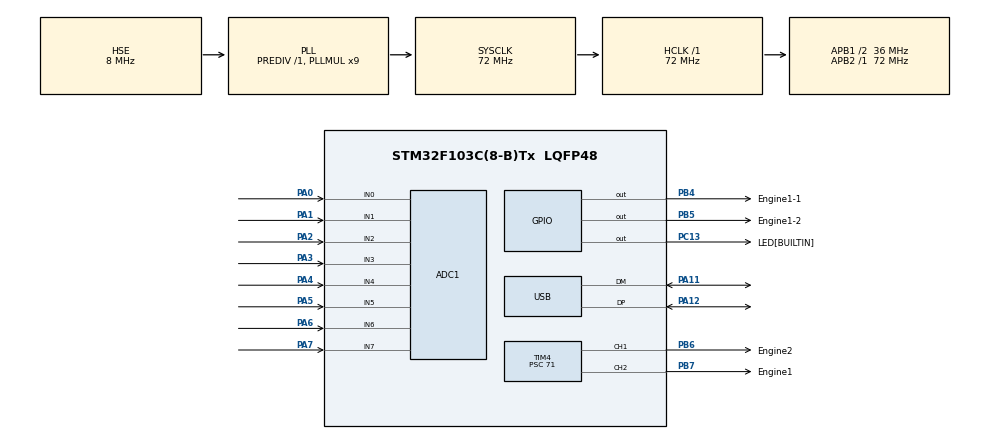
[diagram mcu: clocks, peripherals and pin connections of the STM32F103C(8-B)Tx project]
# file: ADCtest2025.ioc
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ADC1.Channel-0\#ChannelRegularConversion=ADC_CHANNEL_0
ADC1.Channel-1\#ChannelRegularConversion=ADC_CHANNEL_1
ADC1.Channel-2\#ChannelRegularConversion=ADC_CHANNEL_2
ADC1.Channel-3\#ChannelRegularConversion=ADC_CHANNEL_3
ADC1.Channel-4\#ChannelRegularConversion=ADC_CHANNEL_4
ADC1.Channel-5\#ChannelRegularConversion=ADC_CHANNEL_5
ADC1.Channel-6\#ChannelRegularConversion=ADC_CHANNEL_6
ADC1.Channel-7\#ChannelRegularConversion=ADC_CHANNEL_7
ADC1.NbrOfConversion=8
ADC1.NbrOfConversionFlag=1
ADC1.Rank-0\#ChannelRegularConversion=1
ADC1.Rank-1\#ChannelRegularConversion=2
ADC1.Rank-2\#ChannelRegularConversion=3
ADC1.Rank-3\#ChannelRegularConversion=4
ADC1.Rank-4\#ChannelRegularConversion=5
ADC1.Rank-5\#ChannelRegularConversion=6
ADC1.Rank-6\#ChannelRegularConversion=7
ADC1.Rank-7\#ChannelRegularConversion=8
ADC1.SamplingTime-0\#ChannelRegularConversion=ADC_SAMPLETIME_239CYCLES_5
ADC1.SamplingTime-1\#ChannelRegularConversion=ADC_SAMPLETIME_239CYCLES_5
ADC1.SamplingTime-2\#ChannelRegularConversion=ADC_SAMPLETIME_239CYCLES_5
ADC1.SamplingTime-3\#ChannelRegularConversion=ADC_SAMPLETIME_239CYCLES_5
ADC1.SamplingTime-4\#ChannelRegularConversion=ADC_SAMPLETIME_239CYCLES_5
ADC1.SamplingTime-5\#ChannelRegularConversion=ADC_SAMPLETIME_239CYCLES_5
ADC1.SamplingTime-6\#ChannelRegularConversion=ADC_SAMPLETIME_239CYCLES_5
ADC1.SamplingTime-7\#ChannelRegularConversion=ADC_SAMPLETIME_239CYCLES_5
ADC1.master=1
Dma.ADC1.0.Direction=DMA_PERIPH_TO_MEMORY
Dma.ADC1.0.Instance=DMA1_Channel1
Dma.ADC1.0.MemDataAlignment=DMA_MDATAALIGN_HALFWORD
Dma.ADC1.0.MemInc=DMA_MINC_ENABLE
Dma.ADC1.0.Mode=DMA_NORMAL
Dma.ADC1.0.PeriphDataAlignment=DMA_PDATAALIGN_HALFWORD
Dma.ADC1.0.PeriphInc=DMA_PINC_DISABLE
Dma.ADC1.0.Priority=DMA_PRIORITY_LOW
Dma.Request0=ADC1
Mcu.Family=STM32F1
Mcu.Name=STM32F103C(8-B)Tx
Mcu.Package=LQFP48
NVIC.ADC1_2_IRQn=true\:0\:0\:false\:false\:true\:true\:true\:true
NVIC.DMA1_Channel1_IRQn=true\:0\:0\:false\:false\:true\:false\:true\:true
NVIC.PriorityGroup=NVIC_PRIORITYGROUP_4
NVIC.TIM2_IRQn=true\:0\:0\:false\:false\:true\:true\:true\:true
NVIC.TIM4_IRQn=true\:0\:0\:false\:false\:true\:true\:true\:true
NVIC.USB_LP_CAN1_RX0_IRQn=true\:0\:0\:false\:false\:true\:true\:true\:true
PA0-WKUP.Signal=ADCx_IN0
PA1.Signal=ADCx_IN1
PA11.Mode=Device
PA11.Signal=USB_DM
PA12.Mode=Device
PA12.Signal=USB_DP
PA13.Mode=Serial_Wire
PA13.Signal=SYS_JTMS-SWDIO
PA14.Mode=Serial_Wire
PA14.Signal=SYS_JTCK-SWCLK
PA2.Signal=ADCx_IN2
PA3.Signal=ADCx_IN3
PA4.Signal=ADCx_IN4
PA5.Signal=ADCx_IN5
PA6.Signal=ADCx_IN6
PA7.Signal=ADCx_IN7
PB4.GPIO_Label=Engine1-1
PB4.Signal=GPIO_Output
PB5.GPIO_Label=Engine1-2
PB5.Signal=GPIO_Output
PB6.GPIO_Label=Engine2
PB6.Signal=S_TIM4_CH1
PB7.GPIO_Label=Engine1
PB7.Signal=S_TIM4_CH2
PC13-TAMPER-RTC.GPIO_Label=LED[BUILTIN]
PC13-TAMPER-RTC.Signal=GPIO_Output
PC14-OSC32_IN.Mode=LSE-External-Oscillator
PC14-OSC32_IN.Signal=RCC_OSC32_IN
PC15-OSC32_OUT.Mode=LSE-External-Oscillator
PC15-OSC32_OUT.Signal=RCC_OSC32_OUT
PD0-OSC_IN.Mode=HSE-External-Oscillator
PD0-OSC_IN.Signal=RCC_OSC_IN
PD1-OSC_OUT.Mode=HSE-External-Oscillator
PD1-OSC_OUT.Signal=RCC_OSC_OUT
ProjectManager.HeapSize=0x200
ProjectManager.StackSize=0x400
ProjectManager.TargetToolchain=STM32CubeIDE
RCC.ADCPresc=RCC_ADCPCLK2_DIV6
RCC.AHBFreq_Value=72000000
RCC.APB1CLKDivider=RCC_HCLK_DIV2
RCC.APB1Freq_Value=36000000
RCC.APB1TimFreq_Value=72000000
RCC.APB2Freq_Value=72000000
RCC.APB2TimFreq_Value=72000000
RCC.HCLKFreq_Value=72000000
RCC.PLLMUL=RCC_PLL_MUL9
RCC.PLLSourceVirtual=RCC_PLLSOURCE_HSE
RCC.SYSCLKFreq_VALUE=72000000
RCC.SYSCLKSource=RCC_SYSCLKSOURCE_PLLCLK
RCC.USBFreq_Value=48000000
RCC.USBPrescaler=RCC_USBCLKSOURCE_PLL_DIV1_5
SH.ADCx_IN0.0=ADC1_IN0,IN0
SH.ADCx_IN1.0=ADC1_IN1,IN1
SH.ADCx_IN2.0=ADC1_IN2,IN2
SH.ADCx_IN3.0=ADC1_IN3,IN3
SH.ADCx_IN4.0=ADC1_IN4,IN4
SH.ADCx_IN5.0=ADC1_IN5,IN5
SH.ADCx_IN6.0=ADC1_IN6,IN6
SH.ADCx_IN7.0=ADC1_IN7,IN7
SH.S_TIM4_CH1.0=TIM4_CH1,PWM Generation1 CH1
SH.S_TIM4_CH2.0=TIM4_CH2,PWM Generation2 CH2
TIM2.Period=9999
TIM2.Prescaler=71
TIM4.Channel-PWM\ Generation1\ CH1=TIM_CHANNEL_1
TIM4.Channel-PWM\ Generation2\ CH2=TIM_CHANNEL_2
TIM4.OCPolarity_1=TIM_OCPOLARITY_LOW
TIM4.OCPolarity_2=TIM_OCPOLARITY_LOW
TIM4.Period=9999
TIM4.Prescaler=71
USB_DEVICE.CLASS_NAME_FS=CDC
USB_DEVICE.VirtualMode=Cdc
USB_DEVICE.VirtualModeFS=Cdc_FS
VP_TIM2_VS_ClockSourceINT.Mode=Internal
VP_TIM4_VS_ClockSourceINT.Mode=Internal
VP_USB_DEVICE_VS_USB_DEVICE_CDC_FS.Mode=CDC_FS
board=custom

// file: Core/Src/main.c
/* USER CODE BEGIN Header */
/**
  ******************************************************************************
  * @file           : main.c
  * @brief          : Main program body
  ******************************************************************************
  * @attention
  *
  * Copyright (c) 2025 STMicroelectronics.
  * All rights reserved.
  *
  * This software is licensed under terms that can be found in the LICENSE file
  * in the root directory of this software component.
  * If no LICENSE file comes with this software, it is provided AS-IS.
  *
  ******************************************************************************
  */
/* USER CODE END Header */
#include "main.h"
#include "usb_device.h"

/* USER CODE BEGIN Includes */

#include "UnerProtocol.h"
#include "engines.h"

/* USER CODE END Includes */

/* USER CODE BEGIN PD */
#define NUM_CHANNELS 8
#define RINGBUFFER 256
#define IS10MS myFlags.individualFlags.bit1
/* USER CODE END PD */

ADC_HandleTypeDef hadc1;
DMA_HandleTypeDef hdma_adc1;

TIM_HandleTypeDef htim2;
TIM_HandleTypeDef htim4;

/* USER CODE BEGIN PV */

_sDato datosComSerie;
uint16_t adcBuffer[NUM_CHANNELS];
_bFlags myFlags;
_sEng motorL,motorR;
/* USER CODE END PV */

void SystemClock_Config(void);
static void MX_GPIO_Init(void);
static void MX_DMA_Init(void);
static void MX_ADC1_Init(void);
static void MX_TIM2_Init(void);
static void MX_TIM4_Init(void);
/* USER CODE BEGIN PFP */
uint8_t CDC_Transmit_FS(uint8_t *buf, uint16_t leng);  // Envia una letra
void CDC_AttachRxData(void (*ptrRxAttach)(uint8_t *buf, uint16_t len));
void HAL_ADC_ConvCpltCallback(ADC_HandleTypeDef* hadc);
void HAL_TIM_PeriodElapsedCallback(TIM_HandleTypeDef *htim);
/* USER CODE END PFP */

/* USER CODE BEGIN 0 */
void HAL_ADC_ConvCpltCallback(ADC_HandleTypeDef* hadc){

	uint8_t u=0;
	char palabra[18];

	for(u=0;u<NUM_CHANNELS;u++){

//		casts.u16[0]=adcBuffer[u];
		sprintf(&palabra[0],"Channel %d:%i\n",u,adcBuffer[u]);
//		memcpy(datosComSerie.bufferTx,palabra,sizeof(palabra));
//		datosComSerie.indexWriteTx  += sizeof(palabra);
	}
	HAL_GPIO_TogglePin(LED_GPIO_Port, LED_Pin);
}
void HAL_TIM_PeriodElapsedCallback(TIM_HandleTypeDef *htim){
	IS10MS=TRUE;
}
/* USER CODE END 0 */

int main(void)
{

  /* USER CODE BEGIN 1 */
	uint8_t counter=0;
	uint8_t DMAcounter=0;
  /* USER CODE END 1 */

  /* MCU Configuration--------------------------------------------------------*/

  /* Reset of all peripherals, Initializes the Flash interface and the Systick. */
  HAL_Init();

  /* USER CODE BEGIN Init */
  CDC_AttachRxData(&UP_datafromUSB);
  myFlags.allFlags=0;
  UP_initprotocol(&datosComSerie,(uint8_t)RINGBUFFER);
  /* USER CODE END Init */

  /* Configure the system clock */
  SystemClock_Config();

  /* Initialize all configured peripherals */
  MX_GPIO_Init();
  MX_DMA_Init();
  MX_ADC1_Init();
  MX_TIM2_Init();
  MX_USB_DEVICE_Init();
  MX_TIM4_Init();
  /* USER CODE BEGIN 2 */
  HAL_TIM_Base_Start_IT(&htim2);

  HAL_TIM_PWM_Start(&htim4, TIM_CHANNEL_2);
  HAL_TIM_PWM_Start(&htim4, TIM_CHANNEL_1);

  HAL_GPIO_WritePin(Engine1_GPIO_Port, Engine1_Pin, 0);
  HAL_GPIO_WritePin(Engine2_GPIO_Port, Engine2_Pin, 0);

//  UP_initprotocol(&datosComSerie,(uint8_t*)RINGBUFFER);

//  HAL_ADC_Start(&hadc1);
//  HAL_ADC_Start_DMA(&hadc1, (uint32_t*)&adcBuffer, 8);
  /* USER CODE END 2 */

  /* Infinite loop */
  while (1)
  {

    /* USER CODE BEGIN 3 */
	UP_comunicationsTask(&datosComSerie);

	if(IS10MS){
		if(counter>10){
			__HAL_TIM_SET_COMPARE(&htim4,TIM_CHANNEL_2,ret_eng_Values());
			__HAL_TIM_SET_COMPARE(&htim4,TIM_CHANNEL_1,ret_eng_Values());
			HAL_GPIO_WritePin(Engine1_1_GPIO_Port, Engine1_1_Pin, 1);
			HAL_GPIO_WritePin(Engine1_1_GPIO_Port, Engine1_1_Pin, 0);
			counter=0;
		}
		if(DMAcounter>100){
			HAL_ADC_Start_DMA(&hadc1, (uint32_t*)&adcBuffer, 8);
			DMAcounter=0;
		}
		IS10MS=!IS10MS;
		counter++;
		DMAcounter++;
	}
  }
  /* USER CODE END 3 */
}

void SystemClock_Config(void)
{
  RCC_OscInitTypeDef RCC_OscInitStruct = {0};
  RCC_ClkInitTypeDef RCC_ClkInitStruct = {0};
  RCC_PeriphCLKInitTypeDef PeriphClkInit = {0};

  /** Initializes the RCC Oscillators according to the specified parameters
  * in the RCC_OscInitTypeDef structure.
  */
  RCC_OscInitStruct.OscillatorType = RCC_OSCILLATORTYPE_HSE;
  RCC_OscInitStruct.HSEState = RCC_HSE_ON;
  RCC_OscInitStruct.HSEPredivValue = RCC_HSE_PREDIV_DIV1;
  RCC_OscInitStruct.HSIState = RCC_HSI_ON;
  RCC_OscInitStruct.PLL.PLLState = RCC_PLL_ON;
  RCC_OscInitStruct.PLL.PLLSource = RCC_PLLSOURCE_HSE;
  RCC_OscInitStruct.PLL.PLLMUL = RCC_PLL_MUL9;
  if (HAL_RCC_OscConfig(&RCC_OscInitStruct) != HAL_OK)
  {
    Error_Handler();
  }

  /** Initializes the CPU, AHB and APB buses clocks
  */
  RCC_ClkInitStruct.ClockType = RCC_CLOCKTYPE_HCLK|RCC_CLOCKTYPE_SYSCLK
                              |RCC_CLOCKTYPE_PCLK1|RCC_CLOCKTYPE_PCLK2;
  RCC_ClkInitStruct.SYSCLKSource = RCC_SYSCLKSOURCE_PLLCLK;
  RCC_ClkInitStruct.AHBCLKDivider = RCC_SYSCLK_DIV1;
  RCC_ClkInitStruct.APB1CLKDivider = RCC_HCLK_DIV2;
  RCC_ClkInitStruct.APB2CLKDivider = RCC_HCLK_DIV1;

  if (HAL_RCC_ClockConfig(&RCC_ClkInitStruct, FLASH_LATENCY_2) != HAL_OK)
  {
    Error_Handler();
  }
  PeriphClkInit.PeriphClockSelection = RCC_PERIPHCLK_ADC|RCC_PERIPHCLK_USB;
  PeriphClkInit.AdcClockSelection = RCC_ADCPCLK2_DIV6;
  PeriphClkInit.UsbClockSelection = RCC_USBCLKSOURCE_PLL_DIV1_5;
  if (HAL_RCCEx_PeriphCLKConfig(&PeriphClkInit) != HAL_OK)
  {
    Error_Handler();
  }
}

static void MX_ADC1_Init(void)
{

  ADC_ChannelConfTypeDef sConfig = {0};

  /** Common config
  */
  hadc1.Instance = ADC1;
  hadc1.Init.ScanConvMode = ADC_SCAN_ENABLE;
  hadc1.Init.ContinuousConvMode = DISABLE;
  hadc1.Init.DiscontinuousConvMode = DISABLE;
  hadc1.Init.ExternalTrigConv = ADC_SOFTWARE_START;
  hadc1.Init.DataAlign = ADC_DATAALIGN_RIGHT;
  hadc1.Init.NbrOfConversion = 8;
  if (HAL_ADC_Init(&hadc1) != HAL_OK)
  {
    Error_Handler();
  }

  /** Configure Regular Channel
  */
  sConfig.Channel = ADC_CHANNEL_0;
  sConfig.Rank = ADC_REGULAR_RANK_1;
  sConfig.SamplingTime = ADC_SAMPLETIME_239CYCLES_5;
  if (HAL_ADC_ConfigChannel(&hadc1, &sConfig) != HAL_OK)
  {
    Error_Handler();
  }

  /** Configure Regular Channel
  */
  sConfig.Channel = ADC_CHANNEL_1;
  sConfig.Rank = ADC_REGULAR_RANK_2;
  if (HAL_ADC_ConfigChannel(&hadc1, &sConfig) != HAL_OK)
  {
    Error_Handler();
  }

  /** Configure Regular Channel
  */
  sConfig.Channel = ADC_CHANNEL_2;
  sConfig.Rank = ADC_REGULAR_RANK_3;
  if (HAL_ADC_ConfigChannel(&hadc1, &sConfig) != HAL_OK)
  {
    Error_Handler();
  }

  /** Configure Regular Channel
  */
  sConfig.Channel = ADC_CHANNEL_3;
  sConfig.Rank = ADC_REGULAR_RANK_4;
  if (HAL_ADC_ConfigChannel(&hadc1, &sConfig) != HAL_OK)
  {
    Error_Handler();
  }

  /** Configure Regular Channel
  */
  sConfig.Channel = ADC_CHANNEL_4;
  sConfig.Rank = ADC_REGULAR_RANK_5;
  if (HAL_ADC_ConfigChannel(&hadc1, &sConfig) != HAL_OK)
  {
    Error_Handler();
  }

  /** Configure Regular Channel
  */
  sConfig.Channel = ADC_CHANNEL_5;
  sConfig.Rank = ADC_REGULAR_RANK_6;
  if (HAL_ADC_ConfigChannel(&hadc1, &sConfig) != HAL_OK)
  {
    Error_Handler();
  }

  /** Configure Regular Channel
  */
  sConfig.Channel = ADC_CHANNEL_6;
  sConfig.Rank = ADC_REGULAR_RANK_7;
  if (HAL_ADC_ConfigChannel(&hadc1, &sConfig) != HAL_OK)
  {
    Error_Handler();
  }

  /** Configure Regular Channel
  */
  sConfig.Channel = ADC_CHANNEL_7;
  sConfig.Rank = ADC_REGULAR_RANK_8;
  if (HAL_ADC_ConfigChannel(&hadc1, &sConfig) != HAL_OK)
  {
    Error_Handler();
  }

}

static void MX_TIM2_Init(void)
{

  TIM_ClockConfigTypeDef sClockSourceConfig = {0};
  TIM_MasterConfigTypeDef sMasterConfig = {0};

  htim2.Instance = TIM2;
  htim2.Init.Prescaler = 71;
  htim2.Init.CounterMode = TIM_COUNTERMODE_UP;
  htim2.Init.Period = 9999;
  htim2.Init.ClockDivision = TIM_CLOCKDIVISION_DIV1;
  htim2.Init.AutoReloadPreload = TIM_AUTORELOAD_PRELOAD_DISABLE;
  if (HAL_TIM_Base_Init(&htim2) != HAL_OK)
  {
    Error_Handler();
  }
  sClockSourceConfig.ClockSource = TIM_CLOCKSOURCE_INTERNAL;
  if (HAL_TIM_ConfigClockSource(&htim2, &sClockSourceConfig) != HAL_OK)
  {
    Error_Handler();
  }
  sMasterConfig.MasterOutputTrigger = TIM_TRGO_RESET;
  sMasterConfig.MasterSlaveMode = TIM_MASTERSLAVEMODE_DISABLE;
  if (HAL_TIMEx_MasterConfigSynchronization(&htim2, &sMasterConfig) != HAL_OK)
  {
    Error_Handler();
  }

}

static void MX_TIM4_Init(void)
{

  TIM_ClockConfigTypeDef sClockSourceConfig = {0};
  TIM_MasterConfigTypeDef sMasterConfig = {0};
  TIM_OC_InitTypeDef sConfigOC = {0};

  htim4.Instance = TIM4;
  htim4.Init.Prescaler = 71;
  htim4.Init.CounterMode = TIM_COUNTERMODE_UP;
  htim4.Init.Period = 9999;
  htim4.Init.ClockDivision = TIM_CLOCKDIVISION_DIV1;
  htim4.Init.AutoReloadPreload = TIM_AUTORELOAD_PRELOAD_DISABLE;
  if (HAL_TIM_Base_Init(&htim4) != HAL_OK)
  {
    Error_Handler();
  }
  sClockSourceConfig.ClockSource = TIM_CLOCKSOURCE_INTERNAL;
  if (HAL_TIM_ConfigClockSource(&htim4, &sClockSourceConfig) != HAL_OK)
  {
    Error_Handler();
  }
  if (HAL_TIM_PWM_Init(&htim4) != HAL_OK)
  {
    Error_Handler();
  }
  sMasterConfig.MasterOutputTrigger = TIM_TRGO_RESET;
  sMasterConfig.MasterSlaveMode = TIM_MASTERSLAVEMODE_DISABLE;
  if (HAL_TIMEx_MasterConfigSynchronization(&htim4, &sMasterConfig) != HAL_OK)
  {
    Error_Handler();
  }
  sConfigOC.OCMode = TIM_OCMODE_PWM1;
  sConfigOC.Pulse = 0;
  sConfigOC.OCPolarity = TIM_OCPOLARITY_LOW;
  sConfigOC.OCFastMode = TIM_OCFAST_DISABLE;
  if (HAL_TIM_PWM_ConfigChannel(&htim4, &sConfigOC, TIM_CHANNEL_1) != HAL_OK)
  {
    Error_Handler();
  }
  if (HAL_TIM_PWM_ConfigChannel(&htim4, &sConfigOC, TIM_CHANNEL_2) != HAL_OK)
  {
    Error_Handler();
  }
  HAL_TIM_MspPostInit(&htim4);

}

static void MX_DMA_Init(void)
{

  /* DMA controller clock enable */
  __HAL_RCC_DMA1_CLK_ENABLE();

  /* DMA interrupt init */
  /* DMA1_Channel1_IRQn interrupt configuration */
  HAL_NVIC_SetPriority(DMA1_Channel1_IRQn, 0, 0);
  HAL_NVIC_EnableIRQ(DMA1_Channel1_IRQn);

}

static void MX_GPIO_Init(void)
{
  GPIO_InitTypeDef GPIO_InitStruct = {0};

  /* GPIO Ports Clock Enable */
  __HAL_RCC_GPIOC_CLK_ENABLE();
  __HAL_RCC_GPIOD_CLK_ENABLE();
  __HAL_RCC_GPIOA_CLK_ENABLE();
  __HAL_RCC_GPIOB_CLK_ENABLE();

  /*Configure GPIO pin Output Level */
  HAL_GPIO_WritePin(LED_GPIO_Port, LED_Pin, GPIO_PIN_RESET);

  /*Configure GPIO pin Output Level */
  HAL_GPIO_WritePin(GPIOB, Engine1_1_Pin|Engine1_2_Pin, GPIO_PIN_RESET);

  /*Configure GPIO pin : LED_Pin */
  GPIO_InitStruct.Pin = LED_Pin;
  GPIO_InitStruct.Mode = GPIO_MODE_OUTPUT_PP;
  GPIO_InitStruct.Pull = GPIO_NOPULL;
  GPIO_InitStruct.Speed = GPIO_SPEED_FREQ_LOW;
  HAL_GPIO_Init(LED_GPIO_Port, &GPIO_InitStruct);

  /*Configure GPIO pins : Engine1_1_Pin Engine1_2_Pin */
  GPIO_InitStruct.Pin = Engine1_1_Pin|Engine1_2_Pin;
  GPIO_InitStruct.Mode = GPIO_MODE_OUTPUT_PP;
  GPIO_InitStruct.Pull = GPIO_NOPULL;
  GPIO_InitStruct.Speed = GPIO_SPEED_FREQ_LOW;
  HAL_GPIO_Init(GPIOB, &GPIO_InitStruct);

}

/* USER CODE BEGIN 4 */

void UP_comunicationsTask(_sDato *datosCom){

	if(datosCom->indexReadRx!=datosCom->indexWriteRx ){
		UP_decodeHeader(datosCom);
		datosCom->indexReadRx=datosCom->indexWriteRx;
	}

	if(datosCom->indexReadTx!=datosCom->indexWriteTx ){

		if(datosCom->indexWriteTx > datosCom->indexReadTx){
				datosCom->bytesTosend = datosCom->indexWriteTx - datosCom->indexReadTx;
		    }else{
		    	datosCom->bytesTosend =  sizeof(datosCom->bufferRx) - datosCom->indexReadTx;
		    }
		    if(CDC_Transmit_FS(&datosCom->bufferTx[datosCom->indexReadTx], datosCom->bytesTosend) == USBD_OK){
		    	datosCom->indexReadTx += datosCom->bytesTosend;
		    }
	}
}
/* USER CODE END 4 */

void Error_Handler(void)
{
  __disable_irq();
  while (1)
  {
  }
}
